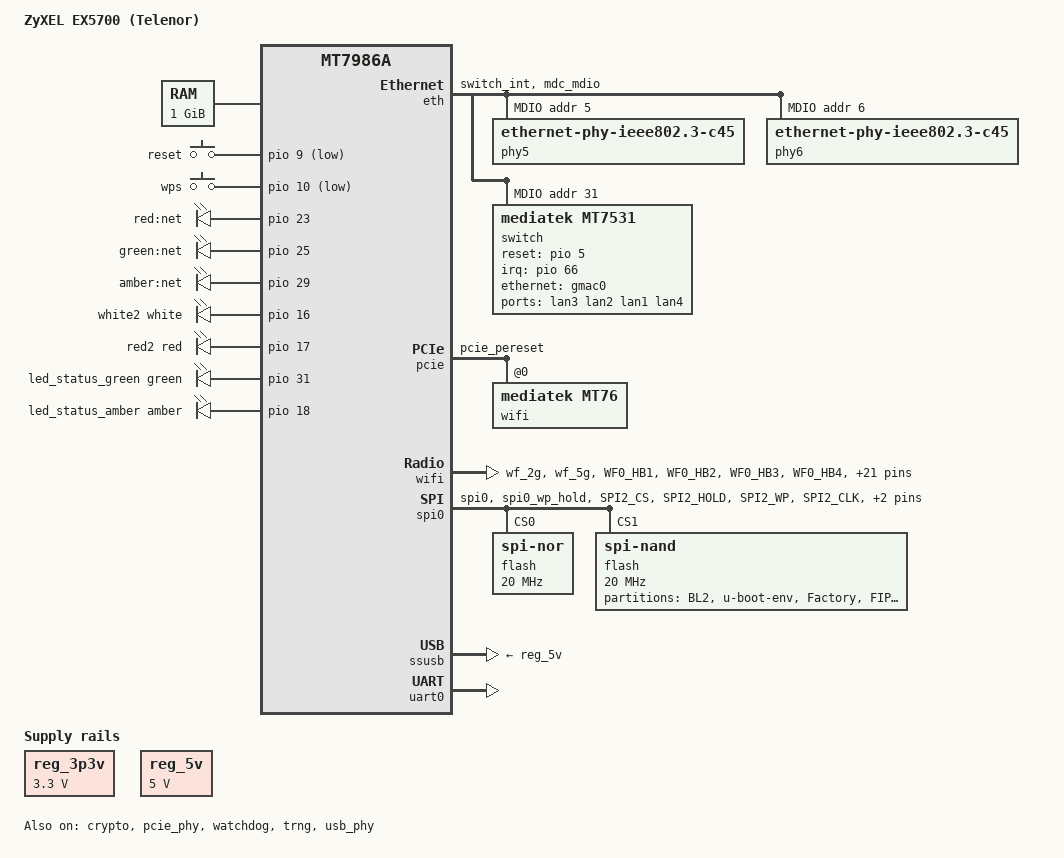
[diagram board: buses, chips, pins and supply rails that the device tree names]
// SPDX-License-Identifier: (GPL-2.0 OR MIT)

/dts-v1/;
#include <dt-bindings/input/input.h>
#include <dt-bindings/leds/common.h>
#include <dt-bindings/gpio/gpio.h>

#include "mt7986a.dtsi"

/ {
	model = "ZyXEL EX5700 (Telenor)";
	compatible = "zyxel,ex5700-telenor", "mediatek,mt7986a";

	aliases {
		serial0 = &uart0;
		ethernet0 = &gmac0;
		led-boot = &led_status_green;
		led-failsafe = &led_status_green;
		led-running = &led_status_green;
		led-upgrade = &led_status_amber;
	};

	chosen {
		stdout-path = "serial0:115200n8";

		// Stock U-Boot crashes unless /chosen/bootargs exists
		bootargs = "earlycon=uart8250,mmio32,0x11002000 console=ttyS0,115200n8";
	};

	memory {
		reg = <0 0x40000000 0 0x40000000>;
	};

	reg_3p3v: regulator-3p3v {
		compatible = "regulator-fixed";
		regulator-name = "fixed-3.3V";
		regulator-min-microvolt = <3300000>;
		regulator-max-microvolt = <3300000>;
		regulator-boot-on;
		regulator-always-on;
	};

	reg_5v: regulator-5v {
		compatible = "regulator-fixed";
		regulator-name = "fixed-5V";
		regulator-min-microvolt = <5000000>;
		regulator-max-microvolt = <5000000>;
		regulator-boot-on;
		regulator-always-on;
	};


	keys {
		compatible = "gpio-keys";
		poll-interval = <20>;

		reset-button {
			label = "reset";
			gpios = <&pio 9 GPIO_ACTIVE_LOW>;
			linux,code = <KEY_RESTART>;
		};

		wps-button {
			label = "wps";
			gpios = <&pio 10 GPIO_ACTIVE_LOW>;
			linux,code = <KEY_WPS_BUTTON>;
		};
	};

	leds {
		compatible = "gpio-leds";

		red1 {
			label = "red:net";
			gpios = <&pio 23 GPIO_ACTIVE_HIGH>;
			default-state = "off";
		};

		green1 {
			label = "green:net";
			gpios = <&pio 25 GPIO_ACTIVE_HIGH>;
			default-state = "off";
		};

		amber1 {
			label = "amber:net";
			gpios = <&pio 29 GPIO_ACTIVE_HIGH>;
			default-state = "off";
		};

		white2 {
			function = LED_FUNCTION_STATUS;
			color = <LED_COLOR_ID_WHITE>;
			gpios = <&pio 16 GPIO_ACTIVE_HIGH>;
			default-state = "off";
		};

		red2 {
			function = LED_FUNCTION_STATUS;
			color = <LED_COLOR_ID_RED>;
			gpios = <&pio 17 GPIO_ACTIVE_HIGH>;
			default-state = "off";
		};

		led_status_green: green2 {
			function = LED_FUNCTION_STATUS;
			color = <LED_COLOR_ID_GREEN>;
			gpios = <&pio 31 GPIO_ACTIVE_HIGH>;
			default-state = "off";
		};

		led_status_amber: amber2 {
			function = LED_FUNCTION_STATUS;
			color = <LED_COLOR_ID_AMBER>;
			gpios = <&pio 18 GPIO_ACTIVE_HIGH>;
			default-state = "off";
		};
	};

};

&eth {
	status = "okay";
	pinctrl-names = "default";
	pinctrl-0 = <&eth_pins>;

	gmac0: mac@0 {
		compatible = "mediatek,eth-mac";
		reg = <0>;
		phy-mode = "2500base-x";

		fixed-link {
			speed = <2500>;
			full-duplex;
			pause;
		};
	};

	mac1: mac@1 {
		compatible = "mediatek,eth-mac";
		reg = <1>;
		label = "wan";
		phy-mode = "2500base-x";
		phy-handle = <&phy6>;
	};

	mdio: mdio-bus {
		#address-cells = <1>;
		#size-cells = <0>;
	};
};

&mdio {
	reset-gpios = <&pio 6 GPIO_ACTIVE_LOW>;
	reset-delay-us = <50000>;
	reset-post-delay-us = <20000>;

	phy5: phy@5 {
		compatible = "ethernet-phy-ieee802.3-c45";
		reg = <5>;
		mxl,led-config = <0x03f0 0x0 0x0 0x0>;
	};

	phy6: phy@6 {
		compatible = "ethernet-phy-ieee802.3-c45";
		reg = <6>;
		mxl,led-config = <0x03f0 0x0 0x0 0x0>;
	};

	switch: switch@1f {
		compatible = "mediatek,mt7531";
		reg = <31>;
		reset-gpios = <&pio 5 GPIO_ACTIVE_HIGH>;
		interrupt-controller;
		#interrupt-cells = <1>;
		interrupt-parent = <&pio>;
		interrupts = <66 IRQ_TYPE_LEVEL_HIGH>;
	};
};

&switch {
	ports {
		#address-cells = <1>;
		#size-cells = <0>;

		port@0 {
			reg = <0>;
			label = "lan3";
		};

		port@1 {
			reg = <1>;
			label = "lan2";
		};

		port@2 {
			reg = <2>;
			label = "lan1";
		};

		port@5 {
			reg = <5>;
			label = "lan4";
			phy-mode = "2500base-x";
			phy-handle = <&phy5>;
		};

		port@6 {
			reg = <6>;
			ethernet = <&gmac0>;
			phy-mode = "2500base-x";

			fixed-link {
				speed = <2500>;
				full-duplex;
				pause;
			};
		};
	};
};

&crypto {
	status = "okay";
};

&pcie {
	pinctrl-names = "default";
	pinctrl-0 = <&pcie_pins>;
	status = "okay";

	pcie@0,0 {
		reg = <0x0000 0 0 0 0>;

		wifi@0,0 {
			compatible = "mediatek,mt76";
			reg = <0x0000 0 0 0 0>;
			mediatek,mtd-eeprom = <&factory 0xa0000>;
		};
	};
};

&pcie_phy {
	status = "okay";
};

&watchdog {
	status = "okay";
};

&wifi {
	status = "okay";
	pinctrl-names = "default";
	pinctrl-0 = <&wf_2g_5g_pins>;


	mediatek,mtd-eeprom = <&factory 0x0>;
};

&pio {
	eth_pins: eth-pins {
		mux {
			function = "eth";
			groups = "switch_int", "mdc_mdio";
		};
	};

	pcie_pins: pcie-pins {
		mux {
			function = "pcie";
			groups = "pcie_pereset"; // "pcie_clk" and "pcie_wake" is unused?
		};
	};

	spi_flash_pins: spi-flash-pins-33-to-38 {
		mux {
			function = "spi";
			groups = "spi0", "spi0_wp_hold";
		};
		conf-pu {
			pins = "SPI2_CS", "SPI2_HOLD", "SPI2_WP";
			drive-strength = <8>;
			mediatek,pull-up-adv = <0>; /* bias-disable */
		};
		conf-pd {
			pins = "SPI2_CLK", "SPI2_MOSI", "SPI2_MISO";
			drive-strength = <8>;
			mediatek,pull-down-adv = <0>; /* bias-disable */
		};
	};

	wf_2g_5g_pins: wf_2g_5g-pins {
		mux {
			function = "wifi";
			groups = "wf_2g", "wf_5g";
		};
		conf {
			pins = "WF0_HB1", "WF0_HB2", "WF0_HB3", "WF0_HB4",
			       "WF0_HB0", "WF0_HB0_B", "WF0_HB5", "WF0_HB6",
			       "WF0_HB7", "WF0_HB8", "WF0_HB9", "WF0_HB10",
			       "WF0_TOP_CLK", "WF0_TOP_DATA", "WF1_HB1",
			       "WF1_HB2", "WF1_HB3", "WF1_HB4", "WF1_HB0",
			       "WF1_HB5", "WF1_HB6", "WF1_HB7", "WF1_HB8",
			       "WF1_TOP_CLK", "WF1_TOP_DATA";
			drive-strength = <4>;
		};
	};

};

&spi0 {
	pinctrl-names = "default";
	pinctrl-0 = <&spi_flash_pins>;
	cs-gpios = <0>, <0>;
	status = "okay";

	flash@0 {
		compatible = "jedec,spi-nor";
		reg = <0>;
		spi-max-frequency = <20000000>;
	};

	flash@1 {
		compatible = "spi-nand";
		reg = <1>;

		mediatek,nmbm;
		mediatek,bmt-max-ratio = <1>;
		mediatek,bmt-max-reserved-blocks = <64>;

		spi-max-frequency = <20000000>;
		spi-tx-bus-width = <4>;
		spi-rx-bus-width = <4>;

		partitions {
			compatible = "fixed-partitions";
			#address-cells = <1>;
			#size-cells = <1>;

			partition@0 {
				label = "BL2";
				reg = <0x000000 0x100000>;
			};
			partition@100000 {
				label = "u-boot-env";
				reg = <0x100000 0x80000>;
			};
			factory: partition@180000 {
				label = "Factory";
				reg = <0x180000 0x200000>;
			};
			partition@380000 {
				label = "FIP";
				reg = <0x380000 0x200000>;
			};
			partition@580000 {
				label = "ubi";
				reg = <0x580000 0x1da80000>;
			};
		};
	};
};

&ssusb {
	vusb33-supply = <&reg_3p3v>;
	vbus-supply = <&reg_5v>;
	status = "okay";
};

&trng {
	status = "okay";
};

&uart0 {
	status = "okay";
};

&usb_phy {
	status = "okay";
};
